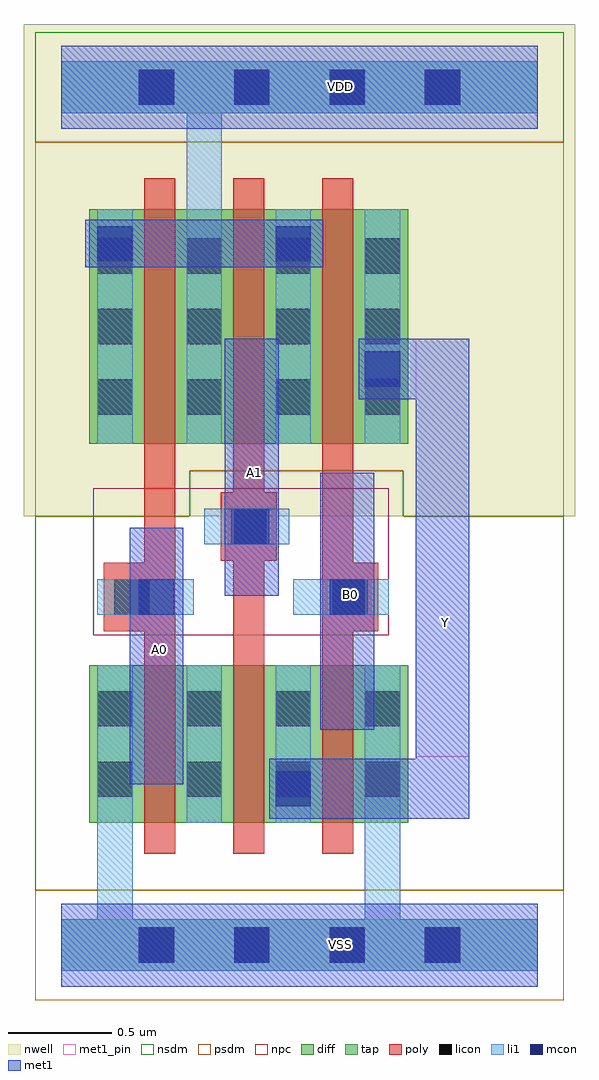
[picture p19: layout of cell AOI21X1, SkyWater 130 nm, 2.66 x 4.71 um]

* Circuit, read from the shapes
.subckt AOI21X1 A0 A1 B0 VDD VSS Y
XM1 n1 A0 VSS VSS sky130_fd_pr__nfet_01v8 w=0.76 l=0.15
XM2 Y A1 n1 VSS sky130_fd_pr__nfet_01v8 w=0.76 l=0.15
XM3 VSS B0 Y VSS sky130_fd_pr__nfet_01v8 w=0.76 l=0.15
XM4 VDD A0 n2 VDD sky130_fd_pr__pfet_01v8 w=1.13 l=0.15
XM5 n2 A1 VDD VDD sky130_fd_pr__pfet_01v8 w=1.13 l=0.15
XM6 Y B0 n2 VDD sky130_fd_pr__pfet_01v8 w=1.13 l=0.15
.ends

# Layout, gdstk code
import gdstk
lib = gdstk.Library(unit=1e-6, precision=1e-09)
def R(c, l, rs):  # rectangles x0, y0, x1, y1
    for r in rs: c.add(gdstk.rectangle(r[:2], r[2:], *l))
def A(c, l, x, y, w, h, nx, ny, dx, dy):  # array of equal rectangles
    R(c, l, [(x+i*dx, y+j*dy, x+i*dx+w, y+j*dy+h) for i in range(nx) for j in range(ny)])
def P(c, l, *ps):  # polygons
    for p in ps: c.add(gdstk.Polygon(p, *l))
nwell = (64, 20)
diff = (65, 20)
tap = (65, 44)
poly = (66, 20)
licon = (66, 44)
li1 = (67, 20)
mcon = (67, 44)
met1_pin = (68, 16)
met1 = (68, 20)
nsdm = (93, 44)
psdm = (94, 20)
npc = (95, 20)

pyl1con_c_cdns_751554744 = lib.new_cell('PYL1CON_C_CDNS_751554744751')
R(pyl1con_c_cdns_751554744, poly, [(-0.135,-0.165,0.135,0.165)])
R(pyl1con_c_cdns_751554744, licon, [(-0.085,-0.085,0.085,0.085)])
R(pyl1con_c_cdns_751554744, npc, [(-0.185,-0.185,0.185,0.185)])

aoi21x1 = lib.new_cell('AOI21X1')
R(aoi21x1, nwell, [(-0.18,2.07,2.48,4.445)])
R(aoi21x1, diff, [(0.135,0.59,1.675,1.35), (0.135,2.42,1.675,3.55)])
A(aoi21x1, poly, 0.4, 0.44, 0.15, 3.26, 3, 1, 0.43, 0)
A(aoi21x1, licon, 0.375, -0.085, 0.17, 0.17, 4, 2, 0.46, 4.14)
A(aoi21x1, licon, 0.175, 0.715, 0.17, 0.17, 4, 2, 0.43, 0.34)
A(aoi21x1, licon, 0.175, 2.56, 0.17, 0.17, 4, 3, 0.43, 0.34)
R(aoi21x1, li1, [(1.035,0.59,1.205,1.35), (1.035,0.59,1.205,0.92), (0.295,1.595,0.625,1.765), (1.215,1.595,1.545,1.765), (0.755,1.935,1.085,2.105), (0.175,2.42,0.345,3.55), (1.035,2.42,1.205,3.55), (1.465,2.42,1.635,3.55), (1.465,2.615,1.635,2.945), (0.175,3.22,0.345,3.55), (1.035,3.22,1.205,3.55)])
P(aoi21x1, li1, [(0,-0.125),(0,0.125),(0.175,0.125),(0.175,1.35),(0.345,1.35),(0.345,0.125),(1.465,0.125),(1.465,1.35),(1.635,1.35),(1.635,0.125),(2.3,0.125),(2.3,-0.125)],
  [(0.605,2.42),(0.605,4.015),(0,4.015),(0,4.265),(2.3,4.265),(2.3,4.015),(0.775,4.015),(0.775,2.42)])
A(aoi21x1, mcon, 0.375, -0.085, 0.17, 0.17, 4, 2, 0.46, 4.14)
R(aoi21x1, mcon, [(1.035,0.67,1.205,0.84), (0.375,1.595,0.545,1.765), (1.295,1.595,1.465,1.765), (0.835,1.935,1.005,2.105), (1.465,2.695,1.635,2.865), (0.175,3.3,0.345,3.47), (1.035,3.3,1.205,3.47)])
R(aoi21x1, met1_pin, [(0.33,0.775,0.59,2.015), (1.71,0.91,1.97,2.925), (1.25,1.04,1.51,2.28), (0.79,1.685,1.05,2.925)])
R(aoi21x1, met1, [(1.005,0.61,1.235,0.9), (0.345,1.535,0.575,1.825), (1.265,1.535,1.495,1.825), (0.805,1.875,1.035,2.165), (1.435,2.635,1.665,2.925), (0.115,3.27,0.405,3.5), (0.975,3.27,1.265,3.5)])
P(aoi21x1, met1, [(1.005,0.61),(1.005,0.9),(1.71,0.9),(1.71,2.635),(1.55,2.635),(1.55,2.925),(1.97,2.925),(1.97,0.61)])
R(aoi21x1, nsdm, [(-0.125,3.875,2.425,4.405)])
P(aoi21x1, nsdm, [(-0.125,0.265),(-0.125,2.07),(0.62,2.07),(0.62,2.29),(1.65,2.29),(1.65,2.07),(2.425,2.07),(2.425,0.265)])
R(aoi21x1, psdm, [(-0.125,-0.265,2.425,0.265)])
P(aoi21x1, psdm, [(-0.125,2.07),(-0.125,3.875),(2.425,3.875),(2.425,2.07),(1.65,2.07),(1.65,2.29),(0.62,2.29),(0.62,2.07)])
R(aoi21x1, npc, [(0.155,1.495,1.58,2.205)])
aoi21x1.add(gdstk.FlexPath([(1.12,1.68),(1.58,1.68)], 0.17, ends="flush", simple_path=True, layer=67, datatype=20))  # li1
aoi21x1.add(gdstk.FlexPath([(0.175,1.68),(0.64,1.68)], 0.17, ends="flush", simple_path=True, layer=67, datatype=20))  # li1
aoi21x1.add(gdstk.FlexPath([(0.69,2.02),(1.1,2.02)], 0.17, ends="flush", simple_path=True, layer=67, datatype=20))  # li1
aoi21x1.add(gdstk.FlexPath([(0.69,0.59),(0.69,1.35)], 0.17, ends="flush", simple_path=True, layer=67, datatype=20))  # li1
aoi21x1.add(gdstk.FlexPath([(0,0),(2.3,0)], 0.4, ends="flush", simple_path=True, layer=68, datatype=20))  # met1
aoi21x1.add(gdstk.FlexPath([(0,4.14),(2.3,4.14)], 0.4, ends="flush", simple_path=True, layer=68, datatype=20))  # met1
aoi21x1.add(gdstk.FlexPath([(0.92,1.685),(0.92,2.925)], 0.26, ends="flush", simple_path=True, layer=68, datatype=20))  # met1
aoi21x1.add(gdstk.FlexPath([(0.46,2.015),(0.46,0.775)], 0.26, ends="flush", simple_path=True, layer=68, datatype=20))  # met1
aoi21x1.add(gdstk.FlexPath([(1.38,2.28),(1.38,1.04)], 0.26, ends="flush", simple_path=True, layer=68, datatype=20))  # met1
aoi21x1.add(gdstk.FlexPath([(0.405,3.385),(0.975,3.385)], 0.23, ends="flush", simple_path=True, layer=68, datatype=20))  # met1
aoi21x1.add(gdstk.FlexPath([(0,0),(2.3,0)], 0.25, ends="flush", simple_path=True, layer=65, datatype=44))  # tap
aoi21x1.add(gdstk.FlexPath([(0,4.14),(2.3,4.14)], 0.25, ends="flush", simple_path=True, layer=65, datatype=44))  # tap
aoi21x1.add(gdstk.FlexPath([(0,0),(2.3,0)], 0.4, ends="flush", simple_path=True, layer=68, datatype=16))  # met1_pin
aoi21x1.add(gdstk.FlexPath([(0,4.14),(2.3,4.14)], 0.4, ends="flush", simple_path=True, layer=68, datatype=16))  # met1_pin
aoi21x1.add(gdstk.Reference(pyl1con_c_cdns_751554744, (0.34,1.68)))
aoi21x1.add(gdstk.Reference(pyl1con_c_cdns_751554744, (1.395,1.68)))
aoi21x1.add(gdstk.Reference(pyl1con_c_cdns_751554744, (0.905,2.02)))
aoi21x1.add(gdstk.Label('A0', (0.475,1.425), layer=68, texttype=5))
aoi21x1.add(gdstk.Label('A1', (0.935,2.28), layer=68, texttype=5))
aoi21x1.add(gdstk.Label('B0', (1.395,1.69), layer=68, texttype=5))
aoi21x1.add(gdstk.Label('VSS', (1.35,0.005), layer=68, texttype=5))
aoi21x1.add(gdstk.Label('Y', (1.855,1.555), layer=68, texttype=5))
aoi21x1.add(gdstk.Label('VDD', (1.35,4.145), layer=68, texttype=5))

lib.write_gds('AOI21X1.gds')
